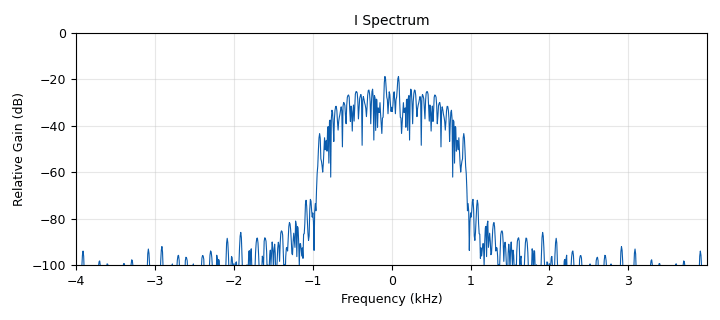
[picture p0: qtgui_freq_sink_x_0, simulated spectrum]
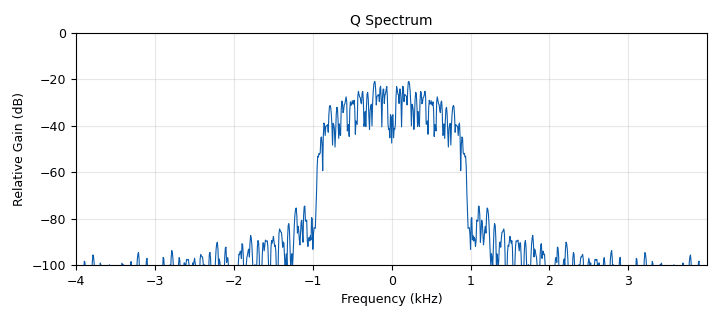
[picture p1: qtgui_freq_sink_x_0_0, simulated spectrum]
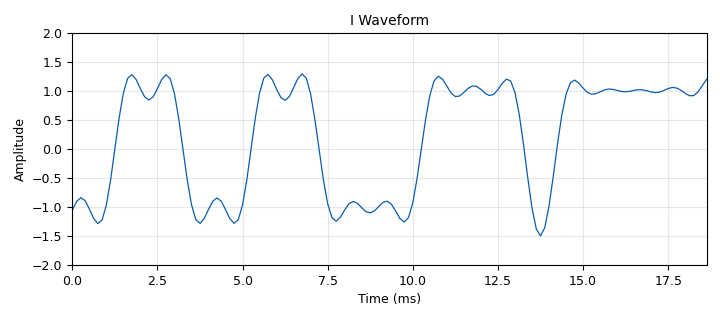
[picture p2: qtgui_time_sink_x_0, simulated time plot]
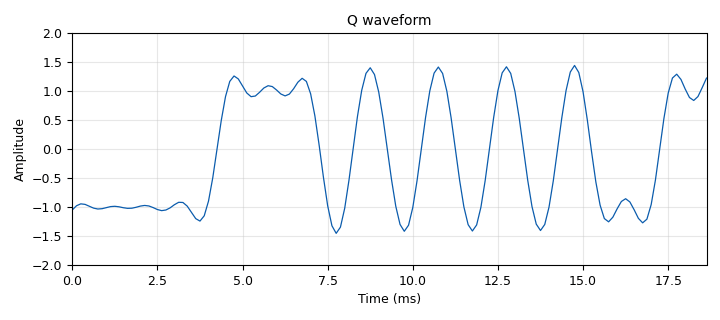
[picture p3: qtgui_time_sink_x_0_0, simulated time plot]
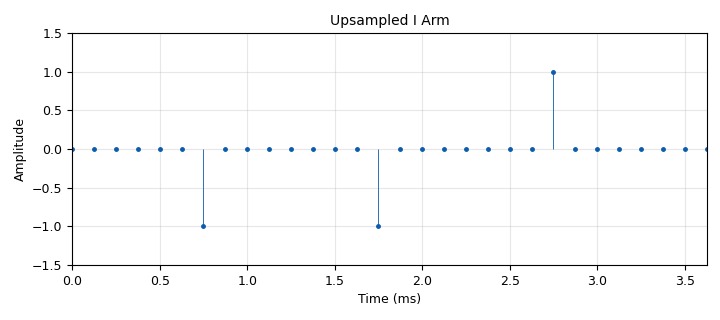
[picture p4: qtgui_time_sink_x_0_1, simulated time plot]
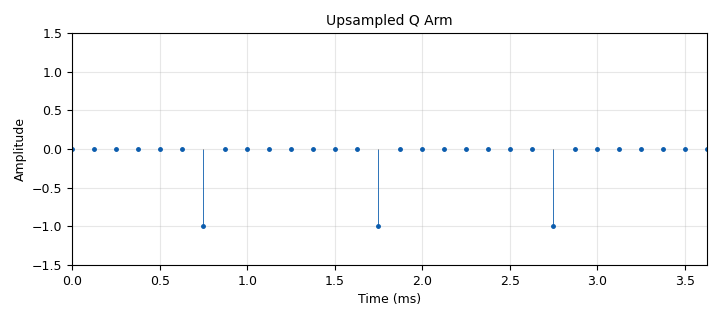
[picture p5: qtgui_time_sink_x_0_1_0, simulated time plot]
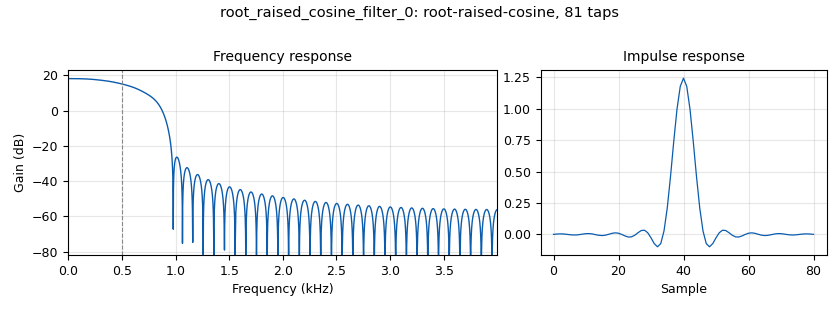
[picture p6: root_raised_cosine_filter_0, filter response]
options:
  parameters:
    author: Qasim Chaudhari
    generate_options: qt_gui
    id: qam_tx_baseband
    output_language: python
    title: QAM Tx Baseband
  states: {}

blocks:
- name: excess_bw
  id: variable
  parameters:
    value: '0.9'
  states: {}
- name: modOrder
  id: variable
  parameters:
    value: '4'
  states: {}
- name: samp_per_sym
  id: variable
  parameters:
    value: '8'
  states: {}
- name: samp_rate
  id: variable
  parameters:
    value: '8000'
  states: {}
- name: analog_random_source_x_0
  id: analog_random_source_x
  parameters:
    comment: Bits Generation
    max: '2'
    min: '0'
    num_samps: '1000'
    repeat: 'True'
    type: byte
  states: {}
- name: blocks_char_to_float_0
  id: blocks_char_to_float
  parameters:
    scale: '1'
  states: {}
- name: blocks_char_to_float_0_0
  id: blocks_char_to_float
  parameters:
    scale: '1'
  states: {}
- name: blocks_pack_k_bits_bb_0
  id: blocks_pack_k_bits_bb
  parameters:
    k: int(np.log2(modOrder))
  states: {}
- name: blocks_throttle_0
  id: blocks_throttle
  parameters:
    samples_per_second: samp_rate
    type: byte
  states: {}
- name: digital_map_bb_0
  id: digital_map_bb
  parameters:
    comment: Look-Up Table I
    map: (1,-1,1,-1)
  states: {}
- name: digital_map_bb_0_0
  id: digital_map_bb
  parameters:
    comment: Look-Up Table Q
    map: (1,1,-1,-1)
  states: {}
- name: import_0
  id: import
  parameters:
    imports: import numpy as np
  states: {}
- name: interp_fir_filter_xxx_0
  id: interp_fir_filter_xxx
  parameters:
    comment: Upsampler I
    interp: samp_per_sym
    taps: np.hstack((1,np.zeros(samp_per_sym-1)))
    type: fff
  states: {}
- name: interp_fir_filter_xxx_0_0
  id: interp_fir_filter_xxx
  parameters:
    comment: Upsampler Q
    interp: samp_per_sym
    taps: (np.hstack((1,np.zeros(samp_per_sym-1))))
    type: fff
  states: {}
- name: qtgui_freq_sink_x_0
  id: qtgui_freq_sink_x
  parameters:
    bw: samp_rate
    fc: '0'
    fftsize: '1024'
    grid: 'True'
    gui_hint: '[0,2,1,1]'
    legend: 'False'
    name: I Spectrum
    type: float
    wintype: firdes.WIN_BLACKMAN_hARRIS
    ymax: '0'
    ymin: '-100'
  states: {}
- name: qtgui_freq_sink_x_0_0
  id: qtgui_freq_sink_x
  parameters:
    bw: samp_rate
    color1: '"red"'
    fc: '0'
    fftsize: '1024'
    grid: 'True'
    gui_hint: '[1,2,1,1]'
    legend: 'False'
    name: Q Spectrum
    type: float
    wintype: firdes.WIN_BLACKMAN_hARRIS
    ymax: '0'
    ymin: '-100'
  states: {}
- name: qtgui_time_sink_x_0
  id: qtgui_time_sink_x
  parameters:
    grid: 'True'
    gui_hint: '[0,1,1,1]'
    label1: I
    legend: 'False'
    name: I Waveform
    size: '150'
    srate: samp_rate
    type: float
    update_time: '0.1'
    width1: '2'
    ymax: '2'
    ymin: '-2'
  states: {}
- name: qtgui_time_sink_x_0_0
  id: qtgui_time_sink_x
  parameters:
    color1: red
    grid: 'True'
    gui_hint: '[1,1,1,1]'
    label1: Q
    legend: 'False'
    name: Q waveform
    size: '150'
    srate: samp_rate
    type: float
    width1: '2'
    ymax: '2'
    ymin: '-2'
  states: {}
- name: qtgui_time_sink_x_0_1
  id: qtgui_time_sink_x
  parameters:
    grid: 'True'
    gui_hint: 0,0,1,1
    label1: I
    legend: 'False'
    marker1: '0'
    name: Upsampled I Arm
    size: '30'
    srate: samp_rate
    stemplot: 'True'
    type: float
    update_time: '0.1'
    width1: '2'
    ymax: '1.5'
    ymin: '-1.5'
  states: {}
- name: qtgui_time_sink_x_0_1_0
  id: qtgui_time_sink_x
  parameters:
    color1: red
    grid: 'True'
    gui_hint: 1,0,1,1
    label1: I
    legend: 'False'
    marker1: '0'
    name: Upsampled Q Arm
    size: '30'
    srate: samp_rate
    stemplot: 'True'
    type: float
    update_time: '0.1'
    width1: '2'
    ymax: '1.5'
    ymin: '-1.5'
  states: {}
- name: root_raised_cosine_filter_0
  id: root_raised_cosine_filter
  parameters:
    alpha: excess_bw
    comment: Pulse Shaping Filter I
    gain: samp_per_sym
    interp: '1'
    ntaps: 10*samp_per_sym+1
    samp_rate: samp_rate
    sym_rate: samp_rate/samp_per_sym
    type: interp_fir_filter_fff
  states: {}
- name: root_raised_cosine_filter_0_0
  id: root_raised_cosine_filter
  parameters:
    alpha: excess_bw
    comment: Pulse Shaping Filter Q
    gain: samp_per_sym
    interp: '1'
    ntaps: 10*samp_per_sym+1
    samp_rate: samp_rate
    sym_rate: samp_rate/samp_per_sym
    type: interp_fir_filter_fff
  states: {}

connections:
- [analog_random_source_x_0, '0', blocks_throttle_0, '0']
- [blocks_char_to_float_0, '0', interp_fir_filter_xxx_0, '0']
- [blocks_char_to_float_0_0, '0', interp_fir_filter_xxx_0_0, '0']
- [blocks_pack_k_bits_bb_0, '0', digital_map_bb_0, '0']
- [blocks_pack_k_bits_bb_0, '0', digital_map_bb_0_0, '0']
- [blocks_throttle_0, '0', blocks_pack_k_bits_bb_0, '0']
- [digital_map_bb_0, '0', blocks_char_to_float_0, '0']
- [digital_map_bb_0_0, '0', blocks_char_to_float_0_0, '0']
- [interp_fir_filter_xxx_0, '0', qtgui_time_sink_x_0_1, '0']
- [interp_fir_filter_xxx_0, '0', root_raised_cosine_filter_0, '0']
- [interp_fir_filter_xxx_0_0, '0', qtgui_time_sink_x_0_1_0, '0']
- [interp_fir_filter_xxx_0_0, '0', root_raised_cosine_filter_0_0, '0']
- [root_raised_cosine_filter_0, '0', qtgui_freq_sink_x_0, '0']
- [root_raised_cosine_filter_0, '0', qtgui_time_sink_x_0, '0']
- [root_raised_cosine_filter_0_0, '0', qtgui_freq_sink_x_0_0, '0']
- [root_raised_cosine_filter_0_0, '0', qtgui_time_sink_x_0_0, '0']

metadata:
  file_format: 1
